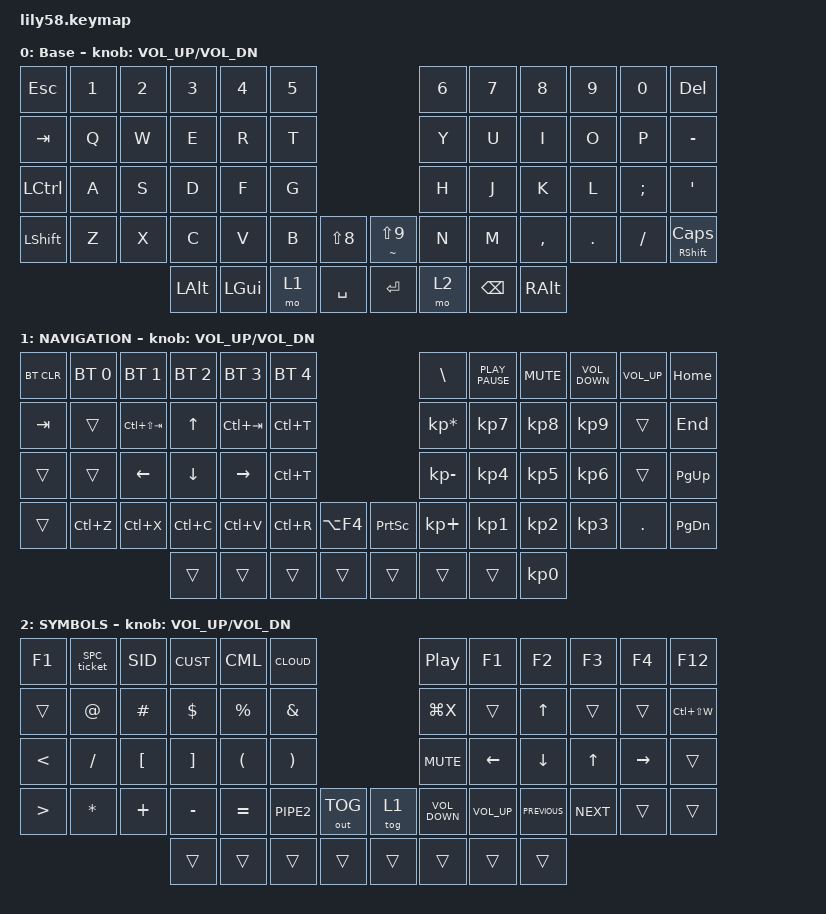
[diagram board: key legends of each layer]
/*
 * Copyright (c) 2020 The ZMK Contributors
 *
 * SPDX-License-Identifier: MIT
 */

#include <behaviors.dtsi>
#include <dt-bindings/zmk/bt.h>
#include <dt-bindings/zmk/keys.h>
#include <dt-bindings/zmk/outputs.h>
#include <dt-bindings/zmk/pointing.h>

/ {
    macros {
        SPC_ticket: SPC_ticket {
            compatible = "zmk,behavior-macro";
            #binding-cells = <0>;
            bindings = <&kp LC(C) &kp LC(T) &kp S &kp P &kp C &kp SPACE &kp LC(V) &kp ENTER>;
            label = "SPC_ticket";
        };

        SID: SID {
            compatible = "zmk,behavior-macro";
            #binding-cells = <0>;
            bindings = <&kp LC(C) &kp LC(T) &kp S &kp I &kp D &kp SPACE &kp LC(V) &kp ENTER>;
            label = "SID";
        };

        CUST: CUST {
            compatible = "zmk,behavior-macro";
            #binding-cells = <0>;
            bindings = <&kp LC(C) &kp LC(T) &kp C &kp I &kp D &kp SPACE &kp LC(V) &kp ENTER>;
            label = "CUST";
        };

        CML: CML {
            compatible = "zmk,behavior-macro";
            #binding-cells = <0>;
            bindings = <&kp LC(C) &kp LC(T) &kp C &kp M &kp L &kp SPACE &kp LC(V) &kp ENTER>;
            label = "CML";
        };       

        CLOUD: CLOUD {
            compatible = "zmk,behavior-macro";
            #binding-cells = <0>;
            bindings = <&kp LC(C) &kp LC(T) &kp C &kp L &kp O &kp U &kp D &kp M &kp SPACE &kp LC(V) &kp ENTER>;
            label = "CLOUD";
        };
    };

    combos {
        compatible = "zmk,combos";

        Combo_1 {
            bindings = <&mo 3>;
            key-positions = <14 15 16>;
        };

        Combo_3 {
            bindings = <&mo 4>;
            key-positions = <19 20 21>;
        };
    };

    keymap {
        compatible = "zmk,keymap";

        default_layer {
            // ------------------------------------------------------------------------------------------------------------
            // |  ESC  |  1  |  2  |  3   |  4   |  5   |                   |  6   |  7    |  8    |  9   |   0   |   `   |
            // |  TAB  |  Q  |  W  |  E   |  R   |  T   |                   |  Y   |  U    |  I    |  O   |   P   |   -   |
            // |  CTRL |  A  |  S  |  D   |  F   |  G   |                   |  H   |  J    |  K    |  L   |   ;   |   '   |
            // | SHIFT |  Z  |  X  |  C   |  V   |  B   |   "["  |  |  "]"  |  N   |  M    |  ,    |  .   |   /   | SHIFT |
            //                     | ALT  | GUI  | LOWER|  SPACE |  | ENTER | RAISE| BSPC  | GUI   |

            display-name = "Base";
            bindings = <
&kp ESC    &kp N1  &kp N2  &kp N3    &kp N4    &kp N5                                  &kp N6  &kp N7    &kp N8         &kp N9   &kp N0    &kp DELETE
&kp TAB    &kp Q   &kp W   &kp E     &kp R     &kp T                                   &kp Y   &kp U     &kp I          &kp O    &kp P     &kp MINUS
&kp LCTRL  &kp A   &kp S   &kp D     &kp F     &kp G                                   &kp H   &kp J     &kp K          &kp L    &kp SEMI  &kp SQT
&kp LSHFT  &kp Z   &kp X   &kp C     &kp V     &kp B   &kp LS(N8)    &mt TILDE LS(N9)  &kp N   &kp M     &kp COMMA      &kp DOT  &kp FSLH  &mt RIGHT_SHIFT CAPS
                           &kp LALT  &kp LGUI  &mo 1   &kp SPACE     &kp RET           &mo 2   &kp BSPC  &kp RIGHT_ALT
            >;

            sensor-bindings = <&inc_dec_kp C_VOL_UP C_VOL_DN>;
        };

        lower_layer {
            // ------------------------------------------------------------------------------------------------------------
            // | BTCLR | BT1 | BT2 |  BT3 |  BT4 |  BT5 |                   |      |       |       |      |       |       |
            // |  F1   |  F2 |  F3 |  F4  |  F5  |  F6  |                   |  F7  |  F8   |  F9   |  F10 |  F11  |  F12  |
            // |   `   |  !  |  @  |  #   |  $   |  %   |                   |  ^   |  &    |  *    |  (   |   )   |   ~   |
            // |       |     |     |      |      |      |        |  |       |      |  _    |  +    |  {   |   }   |  "|"  |
            //                     |      |      |      |        |  |       |      |       |       |

            display-name = "NAVIGATION";
            bindings = <
&bt BT_CLR  &bt BT_SEL 0  &bt BT_SEL 1     &bt BT_SEL 2    &bt BT_SEL 3     &bt BT_SEL 4                                 &kp BSLH         &kp K_PLAY_PAUSE  &kp K_MUTE       &kp C_VOLUME_DOWN  &kp C_VOLUME_UP  &kp HOME
&kp TAB     &trans        &kp LC(LS(TAB))  &kp UP_ARROW    &kp LC(TAB)      &kp LC(T)                                    &kp KP_MULTIPLY  &kp KP_NUMBER_7   &kp KP_NUMBER_8  &kp KP_NUMBER_9    &trans           &kp END
&trans      &trans        &kp LEFT_ARROW   &kp DOWN_ARROW  &kp RIGHT_ARROW  &kp LC(T)                                    &kp KP_SUBTRACT  &kp KP_NUMBER_4   &kp KP_NUMBER_5  &kp KP_NUMBER_6    &trans           &kp PAGE_UP
&trans      &kp LC(Z)     &kp LC(X)        &kp LC(C)       &kp LC(V)        &kp LC(R)     &kp LA(F4)    &kp PRINTSCREEN  &kp KP_PLUS      &kp KP_NUMBER_1   &kp KP_NUMBER_2  &kp KP_NUMBER_3    &kp PERIOD       &kp PAGE_DOWN
                                           &trans          &trans           &trans        &trans        &trans           &trans           &trans            &kp KP_NUMBER_0
            >;

            sensor-bindings = <&inc_dec_kp C_VOL_UP C_VOL_DN>;
        };

        raise_layer {
            // ------------------------------------------------------------------------------------------------------------
            // |       |     |     |      |      |      |                   |      |       |       |      |       |       |
            // |   `   |  1  |  2  |  3   |  4   |  5   |                   |  6   |   7   |   8   |  9   |   0   |       |
            // |   F1  |  F2 |  F3 |  F4  |  F5  |  F6  |                   |      |   <-  |   v   |  ^   |  ->   |       |
            // |   F7  |  F8 |  F9 |  F10 |  F11 |  F12 |        |  |       |  +   |   -   |   =   |  [   |   ]   |   \   |
            //                     |      |      |      |        |  |       |      |       |       |

            display-name = "SYMBOLS";
            bindings = <
&kp F1  &SPC_ticket  &SID              &CUST              &CML                  &CLOUD                                         &kp C_PLAY_PAUSE   &kp F1           &kp F2          &kp F3      &kp F4     &kp F12
&trans  &kp AT       &kp HASH          &kp DOLLAR         &kp PERCENT           &kp AMPERSAND                                  &kp LG(X)          &trans           &kp UP_ARROW    &trans      &trans     &kp LC(LS(W))
&kp LT  &kp SLASH    &kp LEFT_BRACKET  &kp RIGHT_BRACKET  &kp LEFT_PARENTHESIS  &kp RIGHT_PARENTHESIS                          &kp K_MUTE         &kp LEFT         &kp DOWN        &kp UP      &kp RIGHT  &trans
&kp GT  &kp STAR     &kp PLUS          &kp MINUS          &kp EQUAL             &kp PIPE2              &out OUT_TOG    &tog 1  &kp C_VOLUME_DOWN  &kp C_VOLUME_UP  &kp C_PREVIOUS  &kp C_NEXT  &trans     &trans
                                       &trans             &trans                &trans                 &trans          &trans  &trans             &trans           &trans
            >;

            sensor-bindings = <&inc_dec_kp C_VOL_UP C_VOL_DN>;
        };

        extra_1 { status = "reserved"; };

        extra_2 { status = "reserved"; };

        extra_3 { status = "reserved"; };
    };
};
